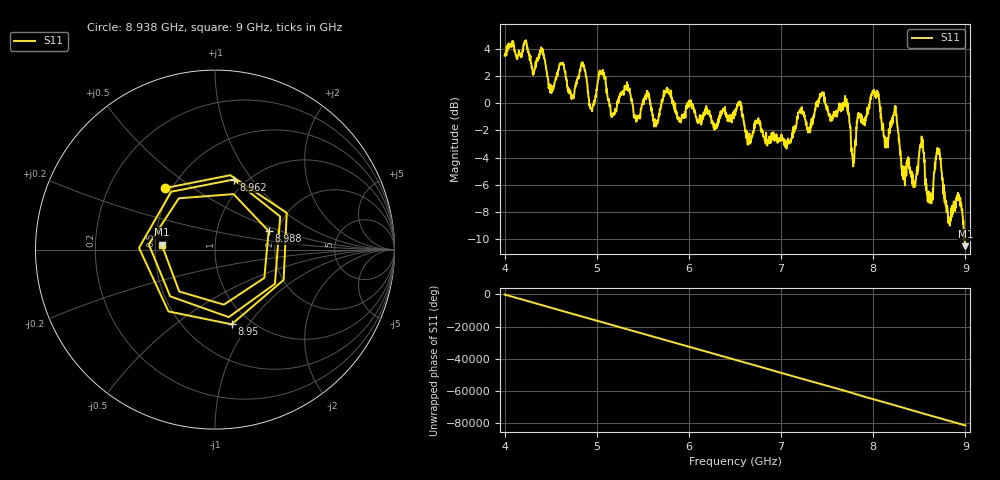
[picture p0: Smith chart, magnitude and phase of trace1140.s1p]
! Created with skrf 1.8.0 (http://scikit-rf.org).
# Hz S RI R 50.0
!freq ReS11 ImS11
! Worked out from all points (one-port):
!   1601 points, 4 GHz to 9 GHz, reference 50 ohm
!   lowest |S11| = -10.5 dB at 9 GHz (marker M1), VSWR 1.85, Z = 27.1 + j1.68 ohm
!   |S11| at or under -10 dB: 8.987994 GHz to 8.988076 GHz (81.6 kHz wide, 0.000908 % of centre); 8.991255 GHz to end of sweep
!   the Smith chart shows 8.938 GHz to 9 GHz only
!   S11 on the Smith chart (normalised r, x): 8.938 GHz: 0.46, +0.39; 8.95 GHz: 0.82, -0.84; 8.962 GHz: 0.88, +0.82; 8.988 GHz: 1.79, +0.41; 9 GHz: 0.54, +0.03
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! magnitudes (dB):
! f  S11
! 4 GHz  3.5
! 4.406 GHz  3.8
! 4.503 GHz  0.8
! 4.625 GHz  2.9
! 4.731 GHz  0.6
! 4.853 GHz  2.8
! 4.941 GHz  -0.5
! 5.047 GHz  2.3
! 5.169 GHz  -0.9
! 5.25 GHz  0.4
! 5.875 GHz  -1.1
! 6.5 GHz  -0.7
! 7.125 GHz  -2.1
! 7.441 GHz  0.7
! 7.75 GHz  -1.8
! 7.788 GHz  -4.1
! 8.031 GHz  0.4
! 8.134 GHz  -2.9
! 8.375 GHz  -4.5
! 8.525 GHz  -2.5
! 8.619 GHz  -6.6
! 8.706 GHz  -3.6
! 8.819 GHz  -8.6
! 8.938 GHz  -7.1
! 8.95 GHz  -7.4
! 8.962 GHz  -7.9
! 8.988 GHz  -10.0
! 9 GHz  -10.5
